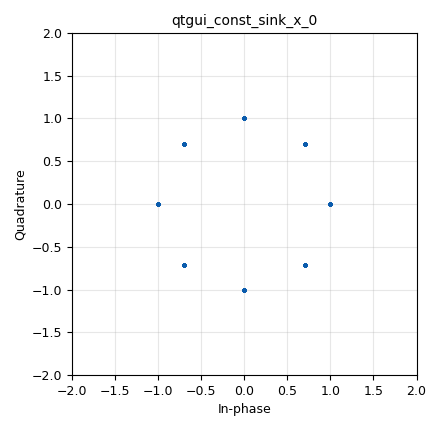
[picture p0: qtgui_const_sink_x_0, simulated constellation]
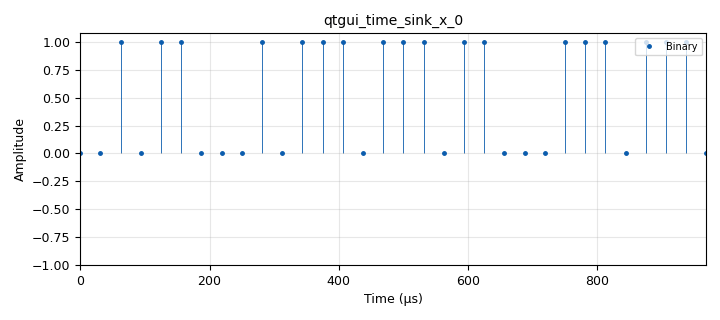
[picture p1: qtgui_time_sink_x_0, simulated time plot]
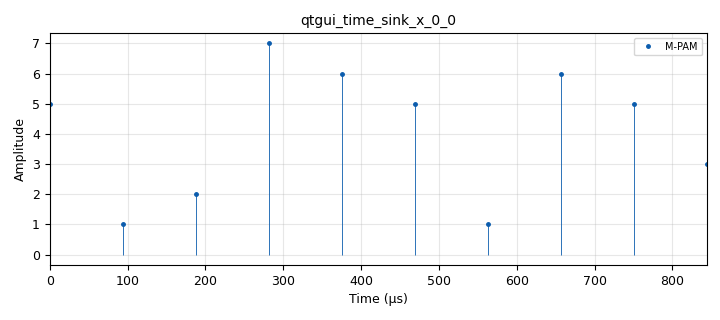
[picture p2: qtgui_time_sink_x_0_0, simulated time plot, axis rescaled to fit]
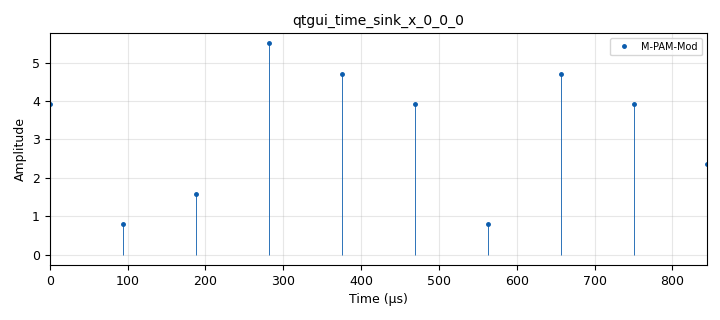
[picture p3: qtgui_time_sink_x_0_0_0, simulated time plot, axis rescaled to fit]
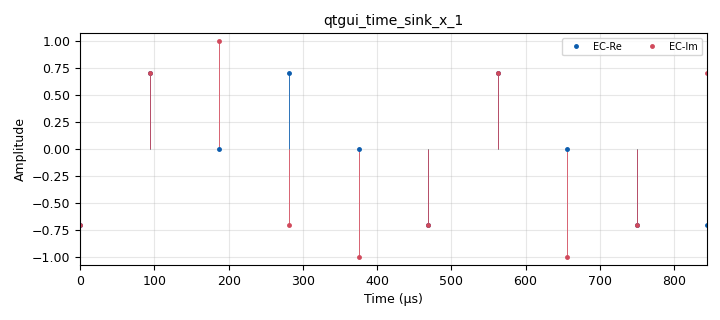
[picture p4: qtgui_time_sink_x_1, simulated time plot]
options:
  parameters:
    generate_options: qt_gui
    id: untitled
    output_language: python
    title: Not titled yet
  states: {}

blocks:
- name: M
  id: variable
  parameters:
    value: '8'
  states: {}
- name: Nbps
  id: variable
  parameters:
    value: int(math.log(M,2))
  states: {}
- name: Rb
  id: variable
  parameters:
    value: '32000'
  states: {}
- name: Rs
  id: variable
  parameters:
    value: Rb/Nbps
  states: {}
- name: analog_const_source_x_0
  id: analog_const_source_x
  parameters:
    const: '1'
    type: float
  states: {}
- name: analog_random_source_x_0
  id: analog_random_source_x
  parameters:
    max: '2'
    min: '0'
    num_samps: '1000'
    repeat: 'True'
    type: byte
  states: {}
- name: blocks_char_to_float_0
  id: blocks_char_to_float
  parameters:
    scale: '1'
  states: {}
- name: blocks_char_to_float_0_0
  id: blocks_char_to_float
  parameters:
    scale: '1'
  states: {}
- name: blocks_char_to_float_1
  id: blocks_char_to_float
  parameters:
    scale: '1'
  states: {}
- name: blocks_multiply_const_vxx_0
  id: blocks_multiply_const_vxx
  parameters:
    const: 2*math.pi/M
    type: float
  states: {}
- name: blocks_repack_bits_bb_0
  id: blocks_repack_bits_bb
  parameters:
    endianness: gr.GR_LSB_FIRST
    k: '1'
    l: Nbps
  states: {}
- name: epy_block_0
  id: epy_block
  parameters:
    _source_code: |
      """
      Embedded Python Blocks:

      Each time this file is saved, GRC will instantiate the first class it finds
      to get ports and parameters of your block. The arguments to __init__  will
      be the parameters. All of them are required to have default values!
      """

      import numpy as np
      from gnuradio import gr


      class blk(gr.sync_block):  # other base classes are basic_block, decim_block, interp_block
          """Embedded Python Block example - a simple multiply const"""

          def __init__(self, example_param=1.0):  # only default arguments here
              """arguments to this function show up as parameters in GRC"""
              gr.sync_block.__init__(
                  self,
                  name='VCO complex',   # will show up in GRC
                  in_sig=[np.float32, np.float32],
                  out_sig=[np.complex64]
              )
              # if an attribute with the same name as a parameter is found,
              # a callback is registered (properties work, too).
              self.example_param = example_param

          def work(self, input_items, output_items):
              Q = input_items[0] #entrada de fase
              A = input_items[1] #entrada de magnitud
              Sec = output_items[0] #señal envolvente compleja 
              Sec[:] = A*np.exp(1.j*Q)
              return len(Sec)
          
              """example: multiply with constant"""
              output_items[0][:] = input_items[0] * self.example_param
              return len(output_items[0])
    example_param: '1.0'
  states: {}
- name: import_0
  id: import
  parameters:
    imports: import math
  states: {}
- name: qtgui_const_sink_x_0
  id: qtgui_const_sink_x
  parameters:
    size: '1024'
    type: complex
  states: {}
- name: qtgui_time_sink_x_0
  id: qtgui_time_sink_x
  parameters:
    label1: Binary
    marker1: '0'
    size: '32'
    srate: Rb
    stemplot: 'True'
    type: float
  states: {}
- name: qtgui_time_sink_x_0_0
  id: qtgui_time_sink_x
  parameters:
    label1: M-PAM
    marker1: '0'
    size: int(32/Nbps)
    srate: Rs
    stemplot: 'True'
    type: float
  states: {}
- name: qtgui_time_sink_x_0_0_0
  id: qtgui_time_sink_x
  parameters:
    label1: M-PAM-Mod
    marker1: '0'
    size: int(32/Nbps)
    srate: Rs
    stemplot: 'True'
    type: float
  states: {}
- name: qtgui_time_sink_x_1
  id: qtgui_time_sink_x
  parameters:
    label1: EC-Re
    label2: EC-Im
    marker1: '0'
    marker2: '0'
    size: int(32/Nbps)
    srate: Rs
    stemplot: 'True'
    type: complex
  states: {}

connections:
- [analog_const_source_x_0, '0', epy_block_0, '1']
- [analog_random_source_x_0, '0', blocks_char_to_float_0, '0']
- [analog_random_source_x_0, '0', blocks_repack_bits_bb_0, '0']
- [blocks_char_to_float_0, '0', qtgui_time_sink_x_0, '0']
- [blocks_char_to_float_0_0, '0', qtgui_time_sink_x_0_0, '0']
- [blocks_char_to_float_1, '0', blocks_multiply_const_vxx_0, '0']
- [blocks_multiply_const_vxx_0, '0', epy_block_0, '0']
- [blocks_multiply_const_vxx_0, '0', qtgui_time_sink_x_0_0_0, '0']
- [blocks_repack_bits_bb_0, '0', blocks_char_to_float_0_0, '0']
- [blocks_repack_bits_bb_0, '0', blocks_char_to_float_1, '0']
- [epy_block_0, '0', qtgui_const_sink_x_0, '0']
- [epy_block_0, '0', qtgui_time_sink_x_1, '0']

metadata:
  file_format: 1
  grc_version: 3.10.7.0
